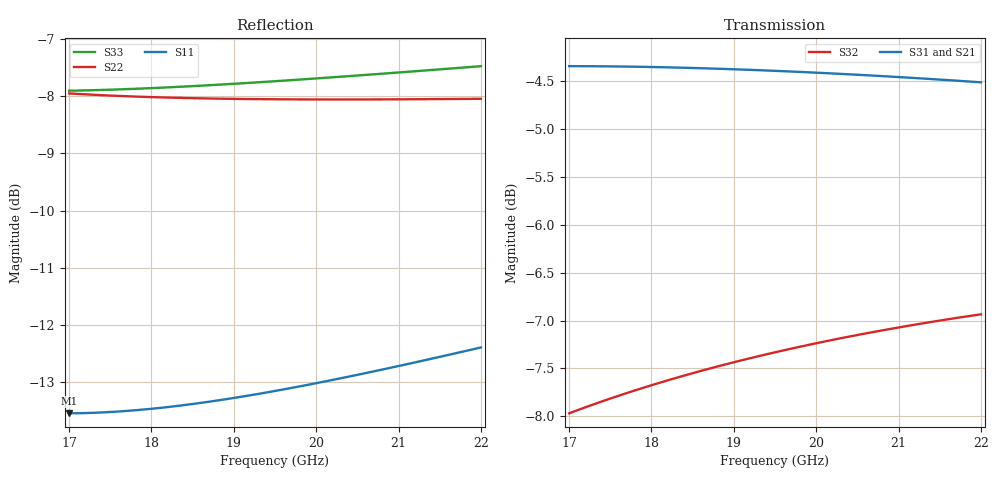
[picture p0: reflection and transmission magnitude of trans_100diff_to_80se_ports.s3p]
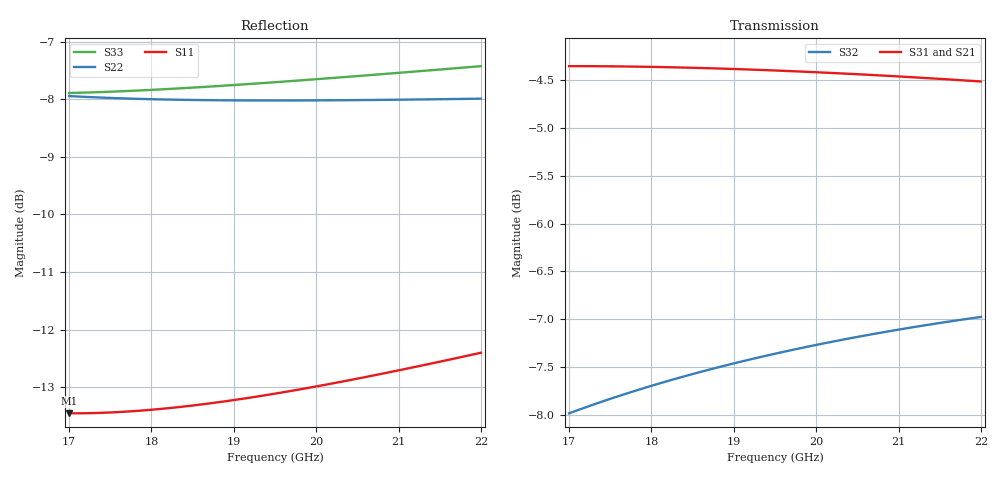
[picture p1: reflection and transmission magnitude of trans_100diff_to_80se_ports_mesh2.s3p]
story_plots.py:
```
#!/usr/bin/env python
"""Plot and numbers for README.md (MIM-loaded balun trans_100diff_to_80se_ports).

Reads the raw Touchstone files in results/snp/ and writes to results/plots/:

  story_balun.png - insertion loss, |Sss11|, |Sdd22| and phase imbalance vs. frequency,
                    uniform mesh 3 -> 1 um plus AMR final

It also prints the numbers quoted in README.md.

Figures of merit at the true system impedances, port 1 = single-ended input (80 ohm),
ports 2/3 = differential output (100 ohm):
  the 3-port Z-matrix is reduced to a single-ended/differential 2-port
    Zaa = Z11, Zab = Z12 - Z13, Zba = Z21 - Z31, Zbb = Z22 - Z23 - Z32 + Z33
  and converted to S at Z01 = 80 ohm, Z02 = 100 ohm (see analyze_convergence.py).
  Insertion loss = -|Sds21| in dB.
  Balance: S21 and S31 renormalized to 80/50/50 ohm, amplitude imbalance
  |S21|/|S31| in dB, phase imbalance = angle(S21/S31) - 180 deg.
"""
import os
import numpy as np
import skrf as rf
import matplotlib
matplotlib.use("Agg")
import matplotlib.pyplot as plt

HERE = os.path.dirname(os.path.abspath(__file__))
SNP_DIR = os.path.join(HERE, "snp")
PLOT_DIR = os.path.join(HERE, "plots")

Z01, Z02 = 80.0, 100.0

# uniform sweep coarse -> fine (ordinal blue ramp), then AMR
RUNS = [
    ("3 µm", "trans_100diff_to_80se_ports.s3p", "#86b6ef", "-"),
    ("2 µm", "trans_100diff_to_80se_ports_mesh2.s3p", "#2a78d6", "-"),
    ("1 µm", "trans_100diff_to_80se_ports_mesh1.s3p", "#0d366b", "-"),
    ("AMR final", "trans_100diff_to_80se_ports_amr2.s3p", "#1baf7a", ":"),
]
REFERENCE = "trans_100diff_to_80se_ports_amr2.s3p"

INK = "#0b0b0b"
INK2 = "#52514e"
GRID = "#e4e3de"


def load(fname):
    return rf.Network(os.path.join(SNP_DIR, fname))


def merits(ntw):
    z = ntw.z
    zaa = z[:, 0, 0]
    zab = z[:, 0, 1] - z[:, 0, 2]
    zba = z[:, 1, 0] - z[:, 2, 0]
    zbb = z[:, 1, 1] - z[:, 1, 2] - z[:, 2, 1] + z[:, 2, 2]
    d = (zaa + Z01) * (zbb + Z02) - zab * zba
    sss11 = ((zaa - Z01) * (zbb + Z02) - zab * zba) / d
    sdd22 = ((zaa + Z01) * (zbb - Z02) - zab * zba) / d
    sds21 = 2 * zba * np.sqrt(Z01 * Z02) / d
    ren = ntw.copy()
    ren.renormalize([Z01, 50.0, 50.0])
    ratio = ren.s[:, 1, 0] / ren.s[:, 2, 0]
    phase = np.degrees(np.unwrap(np.angle(ratio)))
    phase -= 360 * np.round((phase.mean() - 180) / 360)
    return {
        "IL": -20 * np.log10(np.abs(sds21)),
        "Sss11": 20 * np.log10(np.abs(sss11)),
        "Sdd22": 20 * np.log10(np.abs(sdd22)),
        "amp": 20 * np.log10(np.abs(ratio)),
        "phase": phase - 180,
        "mm": np.stack([sss11, sds21, sdd22], axis=1),
    }


def style(ax):
    ax.grid(True, color=GRID, linewidth=0.8)
    ax.set_axisbelow(True)
    for side in ("top", "right"):
        ax.spines[side].set_visible(False)
    for side in ("left", "bottom"):
        ax.spines[side].set_color(INK2)
    ax.tick_params(colors=INK2, labelsize=9)


def plot_balun():
    panels = [
        ("IL", "Insertion loss (dB)"),
        ("Sss11", "Input match |Sss11| at 80 Ω (dB)"),
        ("Sdd22", "Output match |Sdd22| at 100 Ω diff. (dB)"),
        ("phase", "Phase imbalance (deg)"),
    ]
    fig, axes = plt.subplots(2, 2, figsize=(10, 6.6), sharex=True)
    for label, fname, color, ls in RUNS:
        ntw = load(fname)
        m = merits(ntw)
        for ax, (key, _) in zip(axes.flat, panels):
            ax.plot(ntw.f / 1e9, m[key], color=color, linewidth=2, linestyle=ls, label=label)
    for ax, (_, title) in zip(axes.flat, panels):
        style(ax)
        ax.set_title(title, loc="left", fontsize=11, color=INK)
    axes[0, 0].set_ylim(1.0, 1.4)
    axes[1, 1].set_ylim(-2, 2)
    for ax in axes[1]:
        ax.set_xlabel("Frequency (GHz)", color=INK2)
    handles, labels = axes[0, 0].get_legend_handles_labels()
    fig.legend(handles, labels, loc="upper center", ncol=4, frameon=False, fontsize=9,
               title="refined_cellsize (uniform, order 2) and AMR", title_fontsize=9)
    fig.tight_layout(rect=(0, 0, 1, 0.92))
    out = os.path.join(PLOT_DIR, "story_balun.png")
    fig.savefig(out, dpi=130, facecolor="white")
    plt.close(fig)
    print("wrote", out)


def print_numbers():
    ref = merits(load(REFERENCE))
    print()
    print(f"{'run':10s} {'IL min..max':>13s} {'Sss11 max':>9s} {'null @GHz':>10s} {'Sdd22 max':>9s} "
          f"{'|amp| max':>9s} {'|ph| max':>8s} {'MaxdS vs AMR':>12s}")
    for label, fname, _, _ in RUNS:
        ntw = load(fname)
        m = merits(ntw)
        f = ntw.f / 1e9
        print(f"{label:10s} {m['IL'].min():5.2f}..{m['IL'].max():5.2f} {m['Sss11'].max():9.1f} "
              f"{f[m['Sss11'].argmin()]:10.1f} {m['Sdd22'].max():9.1f} {np.abs(m['amp']).max():9.2f} "
              f"{np.abs(m['phase']).max():8.2f} {np.abs(m['mm'] - ref['mm']).max():12.4f}")


if __name__ == "__main__":
    os.makedirs(PLOT_DIR, exist_ok=True)
    plot_balun()
    print_numbers()
```
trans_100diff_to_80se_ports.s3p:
#  GHZ S DB R 50.0
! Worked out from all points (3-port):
!   51 points, 17 GHz to 22 GHz, reference 50 ohm
!   strongest paths, dB at 17 GHz, 18.2 GHz, 19.5 GHz, 20.8 GHz, 22 GHz:
!     S31: -4.3, -4.4, -4.4, -4.4, -4.5
!     S21: -4.5, -4.4, -4.4, -4.4, -4.4
!     S32: -8.0, -7.6, -7.3, -7.1, -6.9
!   lowest |S11| = -13.5 dB at 17 GHz (marker M1), VSWR 1.53, Z = 75.5 + j6.92 ohm
!   |S11| at or under -10 dB: start of sweep to end of sweep
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17  -13.54 12.0  -4.49 -173.7  -4.35 6.0
    -4.49 -173.7  -7.95 95.4  -7.97 73.4
    -4.35 6.0  -7.97 73.4  -7.90 92.5
18.1  -13.45 -2.1  -4.44 178.5  -4.36 -1.4
      -4.44 178.5  -8.02 85.3  -7.65 66.1
      -4.36 -1.4  -7.65 66.1  -7.85 82.7
19.3  -13.20 -15.6  -4.41 170.5  -4.39 -9.0
      -4.41 170.5  -8.05 75.7  -7.37 58.8
      -4.39 -9.0  -7.37 58.8  -7.76 73.5
20.6  -12.84 -28.3  -4.40 162.4  -4.44 -16.7
      -4.40 162.4  -8.06 66.9  -7.13 51.6
      -4.44 -16.7  -7.13 51.6  -7.63 65.0
22  -12.39 -40.1  -4.41 154.2  -4.51 -24.5
    -4.41 154.2  -8.05 58.7  -6.94 44.4
    -4.51 -24.5  -6.94 44.4  -7.48 57.0
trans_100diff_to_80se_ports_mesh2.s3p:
#  GHZ S DB R 50.0
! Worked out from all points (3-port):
!   51 points, 17 GHz to 22 GHz, reference 50 ohm
!   strongest paths, dB at 17 GHz, 18.2 GHz, 19.5 GHz, 20.8 GHz, 22 GHz:
!     S31: -4.4, -4.4, -4.4, -4.5, -4.5
!     S21: -4.5, -4.4, -4.4, -4.4, -4.4
!     S32: -8.0, -7.6, -7.4, -7.1, -7.0
!   lowest |S11| = -13.5 dB at 17 GHz (marker M1), VSWR 1.54, Z = 75.6 + j7.68 ohm
!   |S11| at or under -10 dB: start of sweep to end of sweep
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17  -13.46 13.2  -4.49 -173.1  -4.35 6.5
    -4.49 -173.1  -7.94 95.7  -7.99 73.5
    -4.35 6.5  -7.99 73.5  -7.89 92.8
18.1  -13.38 -0.7  -4.44 179.1  -4.36 -1.0
      -4.44 179.1  -8.00 85.6  -7.67 66.1
      -4.36 -1.0  -7.67 66.1  -7.83 82.9
19.3  -13.16 -14.0  -4.41 171.1  -4.39 -8.6
      -4.41 171.1  -8.02 76.0  -7.40 58.8
      -4.39 -8.6  -7.40 58.8  -7.72 73.7
20.6  -12.83 -26.4  -4.40 163.0  -4.44 -16.2
      -4.40 163.0  -8.01 67.1  -7.17 51.6
      -4.44 -16.2  -7.17 51.6  -7.58 65.1
22  -12.40 -38.1  -4.40 154.7  -4.51 -24.1
    -4.40 154.7  -7.99 58.9  -6.98 44.4
    -4.51 -24.1  -6.98 44.4  -7.42 57.2
